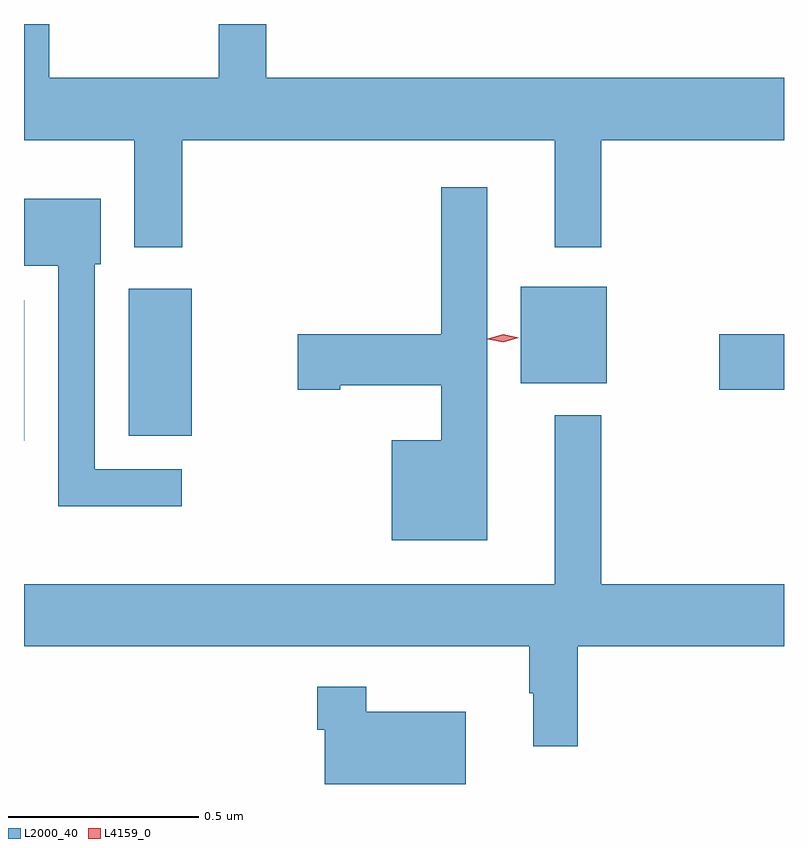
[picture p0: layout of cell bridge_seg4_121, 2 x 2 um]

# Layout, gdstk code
import gdstk
lib = gdstk.Library(unit=1e-6, precision=1e-09)
def R(c, l, rs):  # rectangles x0, y0, x1, y1
    for r in rs: c.add(gdstk.rectangle(r[:2], r[2:], *l))
def P(c, l, *ps):  # polygons
    for p in ps: c.add(gdstk.Polygon(p, *l))
L2000_40 = (2000, 40)
L4159_0 = (4159, 0)

bridge_seg4_121 = lib.new_cell('bridge_seg4_121')
R(bridge_seg4_121, L2000_40, [(350.208,776.049,350.209,776.419), (350.483,776.063,350.65,776.449), (352.038,776.183,352.208,776.33), (351.515,776.201,351.742,776.455)])
P(bridge_seg4_121, L2000_40, [(350.624,776.84),(351.605,776.84),(351.605,776.559),(351.727,776.559),(351.727,776.84),(352.208,776.84),(352.208,777.004),(350.846,777.004),(350.846,777.146),(350.72,777.146),(350.72,777.004),(350.275,777.004),(350.275,777.146),(350.208,777.146),(350.208,776.84),(350.498,776.84),(350.498,776.559),(350.624,776.559)],
  [(351.427,776.716),(351.306,776.716),(351.306,776.33),(350.928,776.33),(350.928,776.183),(351.04,776.183),(351.04,776.195),(351.306,776.195),(351.306,776.05),(351.176,776.05),(351.176,775.787),(351.427,775.787)],
  [(350.623,775.974),(350.394,775.974),(350.394,776.514),(350.41,776.514),(350.41,776.686),(350.208,776.686),(350.208,776.51),(350.298,776.51),(350.298,775.877),(350.623,775.877)],
  [(351.665,775.508),(352.208,775.508),(352.208,775.672),(351.727,775.672),(351.727,776.116),(351.605,776.116),(351.605,775.672),(350.208,775.672),(350.208,775.508),(351.537,775.508),(351.537,775.385),(351.548,775.385),(351.548,775.245),(351.665,775.245)],
  [(351.37,775.336),(351.109,775.336),(351.109,775.402),(350.98,775.402),(350.98,775.289),(351,775.289),(351,775.146),(351.37,775.146)])
P(bridge_seg4_121, L4159_0, [(351.469,776.309),(351.429,776.317),(351.428,776.318),(351.429,776.318),(351.469,776.329),(351.51,776.32),(351.51,776.32),(351.51,776.32)])

lib.write_gds('bridge_seg4_121.gds')
